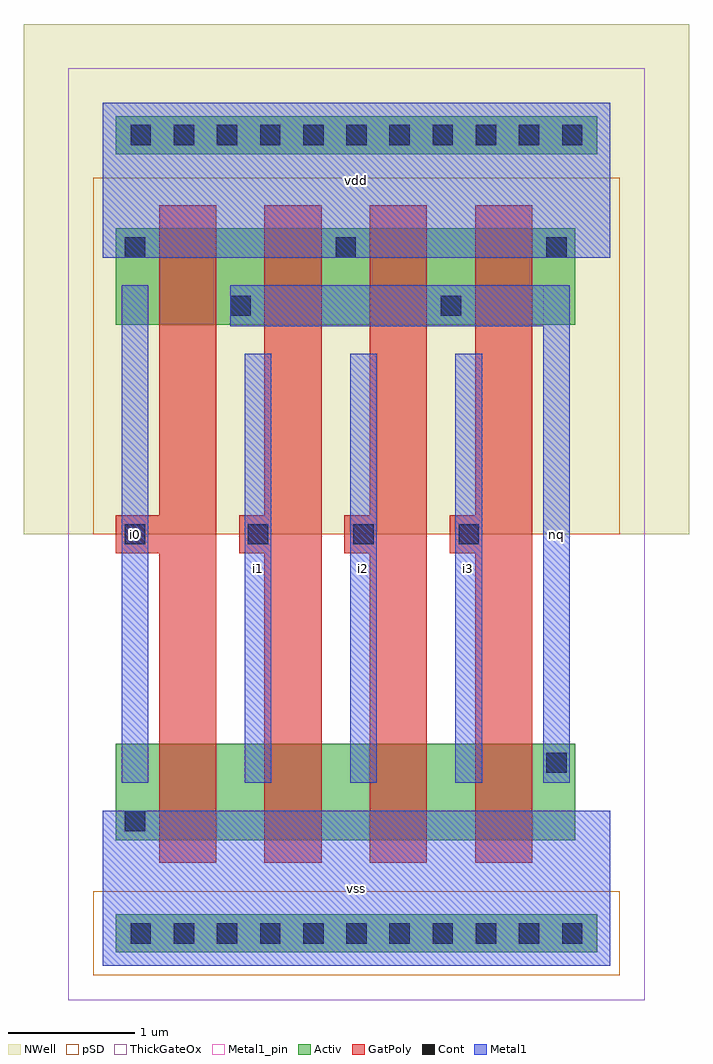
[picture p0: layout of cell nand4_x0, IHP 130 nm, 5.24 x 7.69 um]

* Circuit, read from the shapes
.subckt nand4_x0 i0 i1 i2 i3 nq vdd vss
XM1 n1 i0 vss vss sg13_hv_nmos w=0.76u l=0.45u
XM2 n2 i1 n1 vss sg13_hv_nmos w=0.76u l=0.45u
XM3 n3 i2 n2 vss sg13_hv_nmos w=0.76u l=0.45u
XM4 nq i3 n3 vss sg13_hv_nmos w=0.76u l=0.45u
XM5 nq i0 vdd vdd sg13_hv_pmos w=0.76u l=0.45u
XM6 vdd i1 nq vdd sg13_hv_pmos w=0.76u l=0.45u
XM7 nq i2 vdd vdd sg13_hv_pmos w=0.76u l=0.45u
XM8 vdd i3 nq vdd sg13_hv_pmos w=0.76u l=0.45u
.ends

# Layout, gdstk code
import gdstk
lib = gdstk.Library(unit=1e-6, precision=1e-09)
def R(c, l, rs):  # rectangles x0, y0, x1, y1
    for r in rs: c.add(gdstk.rectangle(r[:2], r[2:], *l))
def A(c, l, x, y, w, h, nx, ny, dx, dy):  # array of equal rectangles
    R(c, l, [(x+i*dx, y+j*dy, x+i*dx+w, y+j*dy+h) for i in range(nx) for j in range(ny)])
def P(c, l, *ps):  # polygons
    for p in ps: c.add(gdstk.Polygon(p, *l))
Activ = (1, 0)
GatPoly = (5, 0)
Cont = (6, 0)
Metal1 = (8, 0)
Metal1_pin = (8, 2)
pSD = (14, 0)
NWell = (31, 0)
ThickGateOx = (44, 0)

nand4_x0 = lib.new_cell('nand4_x0')
R(nand4_x0, Activ, [(0.105,0.105,3.895,0.405), (0.105,0.99,3.725,1.75), (0.105,5.05,3.725,5.81), (0.105,6.395,3.895,6.695)])
P(nand4_x0, GatPoly, [(0.445,0.81),(0.445,3.25),(0.105,3.25),(0.105,3.55),(0.445,3.55),(0.445,5.99),(0.895,5.99),(0.895,0.81)],
  [(1.275,0.81),(1.275,3.25),(1.075,3.25),(1.075,3.55),(1.275,3.55),(1.275,5.99),(1.725,5.99),(1.725,0.81)],
  [(2.105,0.81),(2.105,3.25),(1.905,3.25),(1.905,3.55),(2.105,3.55),(2.105,5.99),(2.555,5.99),(2.555,0.81)],
  [(2.935,0.81),(2.935,3.25),(2.735,3.25),(2.735,3.55),(2.935,3.55),(2.935,5.99),(3.385,5.99),(3.385,0.81)])
A(nand4_x0, Cont, 0.22, 0.175, 0.16, 0.16, 11, 2, 0.34, 6.29)
A(nand4_x0, Cont, 1.145, 3.32, 0.16, 0.16, 3, 1, 0.83, 0)
A(nand4_x0, Cont, 0.175, 5.58, 0.16, 0.16, 3, 1, 1.66, 0)
R(nand4_x0, Cont, [(0.175,1.06,0.335,1.22), (3.495,1.52,3.655,1.68), (0.175,3.32,0.335,3.48), (1.005,5.12,1.165,5.28), (2.665,5.12,2.825,5.28)])
A(nand4_x0, Metal1, 1.12, 1.44, 0.21, 3.38, 3, 1, 0.83, 0)
R(nand4_x0, Metal1, [(0,0,4,1.22), (0.15,1.44,0.36,5.36), (0,5.58,4,6.8)])
P(nand4_x0, Metal1, [(3.47,1.44),(3.47,5.04),(1.005,5.04),(1.005,5.36),(3.68,5.36),(3.68,1.44)])
A(nand4_x0, Metal1_pin, 1.12, 1.44, 0.21, 3.38, 3, 1, 0.83, 0)
R(nand4_x0, Metal1_pin, [(0,0,4,1.22), (0.15,1.44,0.36,5.36), (3.47,1.44,3.68,5.36), (0,5.58,4,6.8)])
R(nand4_x0, pSD, [(-0.075,-0.075,4.075,0.585), (-0.075,3.4,4.075,6.21)])
R(nand4_x0, NWell, [(-0.62,3.4,4.62,7.42)])
R(nand4_x0, ThickGateOx, [(-0.27,-0.27,4.27,7.07)])
nand4_x0.add(gdstk.Label('vss', (2,0.61), layer=8, texttype=2))
nand4_x0.add(gdstk.Label('vdd', (2,6.19), layer=8, texttype=2))
nand4_x0.add(gdstk.Label('i0', (0.255,3.4), layer=8, texttype=2))
nand4_x0.add(gdstk.Label('nq', (3.575,3.4), layer=8, texttype=2))
nand4_x0.add(gdstk.Label('i1', (1.225,3.13), layer=8, texttype=2))
nand4_x0.add(gdstk.Label('i2', (2.055,3.13), layer=8, texttype=2))
nand4_x0.add(gdstk.Label('i3', (2.885,3.13), layer=8, texttype=2))

lib.write_gds('nand4_x0.gds')
